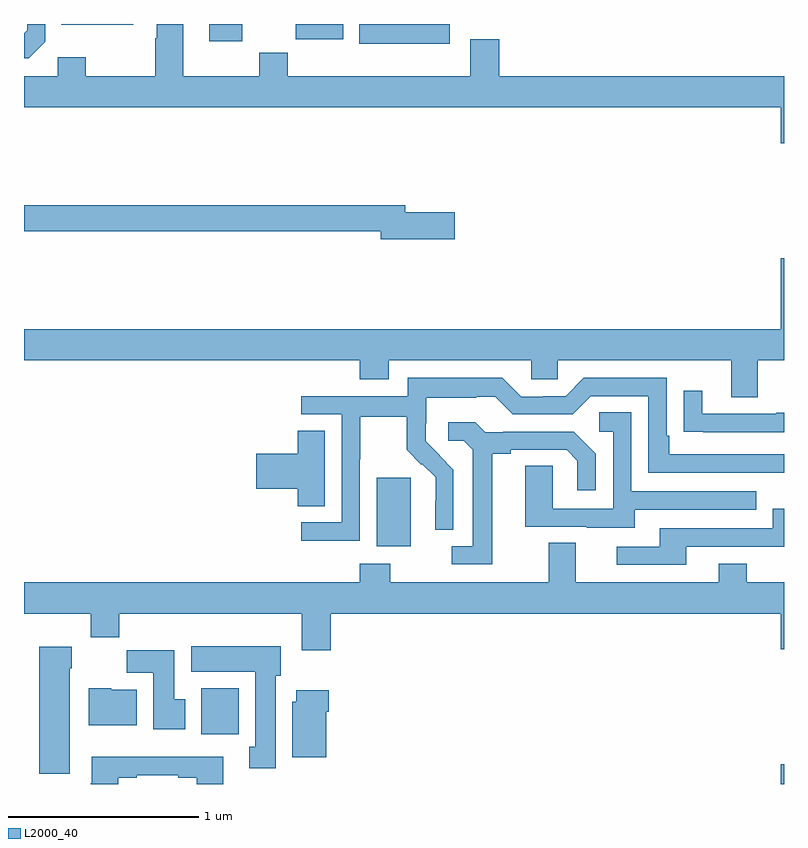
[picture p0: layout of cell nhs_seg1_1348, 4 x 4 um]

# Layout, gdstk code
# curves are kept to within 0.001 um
import gdstk
lib = gdstk.Library(unit=1e-6, precision=1e-09)
def R(c, l, rs):  # rectangles x0, y0, x1, y1
    for r in rs: c.add(gdstk.rectangle(r[:2], r[2:], *l))
def P(c, l, *ps):  # polygons
    for p in ps: c.add(gdstk.Polygon(p, *l))
L2000_40 = (2000, 40)

nhs_seg1_1348 = lib.new_cell('nhs_seg1_1348')
R(nhs_seg1_1348, L2000_40, [(188.984,520.199,189,520.303), (185.933,520.46,186.13,520.702), (186.857,521.45,187.036,521.811), (186.764,524.096,187.24,524.199), (185.975,524.108,186.148,524.199), (186.43,524.118,186.679,524.199), (185.197,524.195,185.575,524.199)])
P(nhs_seg1_1348, L2000_40, [(185.112,524.106),(185.112,524.199),(185.016,524.199),(185.016,524.166),(185,524.15),(185,524.019),(185.025,524.019)],
  [(189,523.924),(187.502,523.924),(187.502,524.119),(187.349,524.119),(187.349,523.924),(186.389,523.924),(186.389,524.048),(186.238,524.048),(186.238,523.924),(185.839,523.924),(185.839,524.199),(185.699,524.199),(185.699,524.123),(185.692,524.123),(185.692,523.924),(185.325,523.924),(185.325,524.023),(185.178,524.023),(185.178,523.924),(185,523.924),(185,523.76),(188.984,523.76),(188.984,523.572),(189,523.572)],
  [(187.267,523.208),(187.006,523.208),(187.006,523.244),(185,523.244),(185,523.108),(186.878,523.108),(186.878,523.066),(187.267,523.066)],
  [(188.863,522.428),(189,522.428),(189,522.967),(188.984,522.967),(188.984,522.592),(185,522.592),(185,522.428),(186.767,522.428),(186.767,522.329),(186.919,522.329),(186.919,522.428),(187.671,522.428),(187.671,522.33),(187.809,522.33),(187.809,522.428),(188.723,522.428),(188.723,522.234),(188.863,522.234)],
  [(186.768,521.908),(186.771,521.908),(186.771,522.132),(187.015,522.132),(187.015,521.957),(187.092,521.88),(187.095,521.883),(187.166,521.813),(187.166,521.69),(187.164,521.69),(187.164,521.536),(187.26,521.536),(187.26,521.854),(187.114,522.002),(187.114,522.099),(187.116,522.099),(187.116,522.233),(187.379,522.233),(187.379,522.237),(187.479,522.237),(187.572,522.144),(187.887,522.144),(187.983,522.24),(188.286,522.24),(188.286,521.838),(189,521.838),(189,521.934),(188.395,521.934),(188.395,522.031),(188.382,522.031),(188.382,522.336),(187.947,522.336),(187.851,522.24),(187.733,522.24),(187.733,522.237),(187.617,522.237),(187.517,522.337),(187.02,522.337),(187.02,522.24),(186.459,522.24),(186.459,522.144),(186.672,522.144),(186.672,521.577),(186.459,521.577),(186.459,521.479),(186.768,521.479)],
  [(189,522.152),(188.959,522.152),(188.959,522.147),(188.569,522.147),(188.569,522.27),(188.473,522.27),(188.473,522.052),(188.575,522.052),(188.575,522.051),(189,522.051)],
  [(188.215,521.643),(188.855,521.643),(188.855,521.739),(188.196,521.739),(188.196,522.155),(188.028,522.155),(188.028,522.054),(188.1,522.054),(188.1,521.649),(187.782,521.649),(187.782,521.873),(187.637,521.873),(187.637,521.553),(187.961,521.553),(187.961,521.549),(188.215,521.549)],
  [(187.465,521.936),(187.561,521.936),(187.561,521.958),(187.856,521.958),(187.913,521.901),(187.913,521.745),(188.01,521.745),(188.01,521.938),(187.894,522.054),(187.522,522.054),(187.522,522.051),(187.428,522.051),(187.376,522.103),(187.233,522.103),(187.233,522.006),(187.314,522.006),(187.361,521.959),(187.361,521.451),(187.251,521.451),(187.251,521.355),(187.465,521.355)],
  [(186.583,522.059),(186.44,522.059),(186.44,521.936),(186.222,521.936),(186.222,521.753),(186.44,521.753),(186.44,521.662),(186.583,521.662)],
  [(188.485,521.448),(189,521.448),(189,521.647),(188.94,521.647),(188.94,521.544),(188.345,521.544),(188.345,521.448),(188.121,521.448),(188.121,521.352),(188.485,521.352)],
  [(186.614,521.096),(188.984,521.096),(188.984,520.908),(189,520.908),(189,521.26),(188.805,521.26),(188.805,521.359),(188.657,521.359),(188.657,521.26),(187.903,521.26),(187.903,521.468),(187.763,521.468),(187.763,521.26),(186.927,521.26),(186.927,521.359),(186.767,521.359),(186.767,521.26),(185,521.26),(185,521.096),(185.35,521.096),(185.35,520.972),(185.501,520.972),(185.501,521.096),(186.461,521.096),(186.461,520.902),(186.614,520.902)],
  [(186.325,520.77),(186.352,520.77),(186.352,520.924),(185.879,520.924),(185.879,520.79),(186.218,520.79),(186.218,520.394),(186.185,520.394),(186.185,520.281),(186.325,520.281)],
  [(185.242,520.808),(185.25,520.808),(185.25,520.921),(185.081,520.921),(185.081,520.254),(185.242,520.254)],
  [(185.848,520.644),(185.791,520.644),(185.791,520.903),(185.542,520.903),(185.542,520.784),(185.681,520.784),(185.681,520.488),(185.848,520.488)],
  [(185.593,520.696),(185.46,520.696),(185.46,520.702),(185.342,520.702),(185.342,520.508),(185.593,520.508)],
  [(186.592,520.58),(186.605,520.58),(186.605,520.693),(186.434,520.693),(186.434,520.632),(186.413,520.632),(186.413,520.34),(186.592,520.34)],
  [(185.497,520.233),(185.593,520.233),(185.593,520.245),(185.813,520.245),(185.813,520.233),(185.909,520.233),(185.909,520.199),(186.049,520.199),(186.049,520.342),(185.357,520.342),(185.357,520.203),(185.35,520.203),(185.35,520.199),(185.497,520.199)])

lib.write_gds('nhs_seg1_1348.gds')
